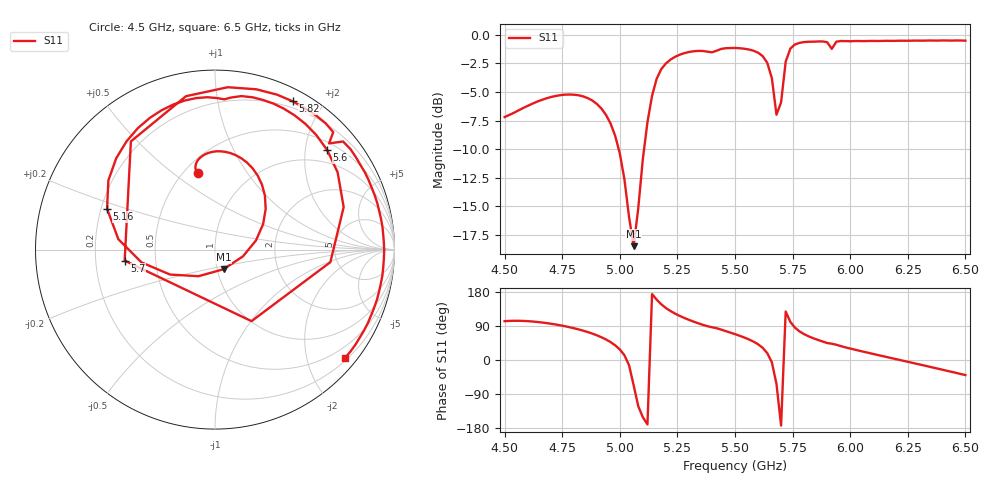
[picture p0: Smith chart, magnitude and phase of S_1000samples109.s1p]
! TOUCHSTONE file generated by CST MICROWAVE STUDIO
! Date and time: Thu Oct 27 00:51:30 2022
! Project name: L.cst
! Parameters = {Di=1.27; Epsilon_r=1.56; InnerDiameter=1.27; Length=2; Lf=10; Lg=60; OuterConductorThickness=0.2921; OuterDiameter=3.6; Wf=3; Wp=41.2; de=1.5; df=6.8; g=0.8; gx=1.29985; gy=2.94595; h=2.34; hf=1.524; px=14.8477; py=10.7433; w=9.7; wx=13.5479; wy=7.79733}
! Header version: 2018
! Port assignment regex: !\s*Touchstone port\s*([0-9]+)\s*=\s*(CST MWS port|CST DS port)\s*([0-9]+|Zmin|Zmax)\s*\(\"(.*)\"\)(\s*mode\s*([0-9]+))?.*
! Touchstone port assignment:
! Touchstone port 1 = CST MWS port 1 ("")
# GHz S DB R 50
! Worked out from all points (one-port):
!   101 points, 4.5 GHz to 6.5 GHz, reference 50 ohm
!   lowest |S11| = -18.5 dB at 5.06 GHz (marker M1), VSWR 1.27, Z = 53.6 - j11.9 ohm
!   |S11| at or under -10 dB: 4.995 GHz to 5.105 GHz (110.1 MHz wide, 2.18 % of centre)
!   S11 on the Smith chart (normalised r, x): 4.5 GHz: 0.59, +0.62; 5.16 GHz: 0.22, +0.17; 5.6 GHz: 0.67, +2.48; 5.7 GHz: 0.33, -0.05; 5.82 GHz: 0.13, +1.65; 6.5 GHz: 0.25, -2.74
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4.5  -7.19 102.5
4.62  -6.02 101.6
4.76  -5.23 89.3
4.9  -6.03 65.3
5  -10.36 27.9
5.06  -18.47 -66.4
5.1  -10.85 -151.0
5.12  -7.64 -170.1
5.16  -3.84 159.3
5.2  -2.50 137.2
5.26  -1.74 116.3
5.34  -1.40 97.0
5.5  -1.15 68.2
5.6  -1.56 41.5
5.64  -2.44 18.3
5.66  -3.79 -6.2
5.68  -6.98 -63.0
5.7  -5.90 -173.0
5.72  -2.34 127.9
5.74  -1.21 100.7
5.76  -0.84 85.5
5.82  -0.60 62.3
5.9  -0.64 44.8
5.92  -1.23 42.9
6  -0.56 30.3
6.14  -0.53 10.5
6.26  -0.51 -6.1
6.5  -0.51 -39.8
